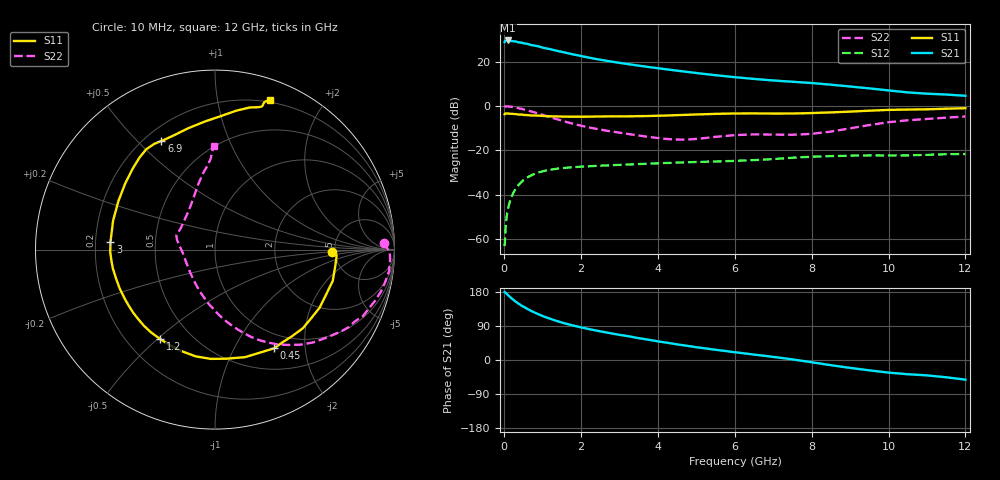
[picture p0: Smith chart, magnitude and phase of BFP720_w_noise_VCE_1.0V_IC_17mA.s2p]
! Infineon Technologies  Discrete & RF Semiconductors
! BFP720
! VCE =  1.0 V,  IC =  17 mA
! Common Emitter S-Parameters:  Aug 2012
# GHz  S  MA  R  50
!  f  S11  S21  S12  S22
! GHz  MAG  ANG  MAG  ANG  MAG  ANG  MAG  ANG
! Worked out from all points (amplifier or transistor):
!   105 points, 10 MHz to 12 GHz, reference 50 ohm
!   highest |S21| = 29.5 dB at 100 MHz (marker M1)
!   |S21| within 3 dB of that: start of sweep to 957 MHz
!   unconditionally stable (mu >= 1): start of sweep to 16.66 MHz; 4.286 GHz to 11.5 GHz
!   at 300 MHz: K = 0.12, MSG = 33.1 dB, |S12| = -37.2 dB
!   at 3.6 GHz: K = 0.89, MSG = 22.0 dB, |S12| = -26.1 dB
!   at 12 GHz: K = 0.89, MSG = 13.1 dB, |S12| = -21.7 dB
!   lowest NFmin = 0.67 dB at 450 MHz
!   S11 on the Smith chart (normalised r, x): 10 MHz: 4.76, -0.21; 450 MHz: 0.78, -1.46; 1.2 GHz: 0.34, -0.51; 3 GHz: 0.26, +0.03; 6.9 GHz: 0.27, +0.59; 12 GHz: 0.18, +1.41
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0.01  0.6536 -1.1  27.33 179.5  0.0007 22.6  0.9398 2.3
0.02  0.6786 -2.8  29.28 178.7  0.001 83.0  0.9735 -0.8
0.1  0.6788 -14.9  29.75 171.0  0.0049 82.3  0.9769 -7.1
0.2  0.6666 -29.1  28.91 161.8  0.0095 77.8  0.9534 -14.3
0.3  0.6571 -41.8  28.19 153.8  0.0138 72.0  0.9181 -20.9
0.35  0.6458 -48.3  27.24 150.2  0.0158 70.1  0.9039 -24.2
0.45  0.6412 -59.0  26.61 143.4  0.0195 65.2  0.8633 -29.9
0.6  0.6222 -74.4  24.92 135.0  0.0246 58.6  0.7922 -38.2
0.8  0.6093 -92.3  22.74 124.8  0.0298 51.6  0.7127 -48.0
1  0.5957 -108.5  20.55 116.0  0.0338 45.3  0.6316 -56.7
1.2  0.5845 -121.3  18.91 108.8  0.0367 40.4  0.5589 -64.2
1.4  0.5805 -133.0  17.18 101.9  0.0389 36.3  0.4954 -70.6
1.6  0.5756 -142.5  15.77 96.0  0.0406 32.9  0.4404 -76.6
2.1  0.5733 -161.0  12.76 84.0  0.0434 27.4  0.3436 -89.5
3  0.5839 175.8  9.317 66.3  0.0473 21.8  0.2506 -109.1
4.1  0.6049 151.2  6.881 47.7  0.0517 17.3  0.1853 -139.7
5  0.6434 135.4  5.507 33.6  0.0548 14.0  0.1816 -175.3
6.1  0.6777 123.5  4.36 19.3  0.0585 11.4  0.2224 163.6
6.9  0.6748 116.3  3.805 9.4  0.0631 10.3  0.227 155.8
8.5  0.7156 94.6  3.007 -13.7  0.0742 0.5  0.265 122.9
10.5  0.8301 72.9  2.016 -37.5  0.0772 -11.0  0.4762 94.6
12  0.8894 70.0  1.694 -51.8  0.0826 -19.1  0.5795 90.3
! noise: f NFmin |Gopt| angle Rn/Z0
0.45  0.67  0.19  1  0.39
1.8  0.74  0.2  11  0.14
2.4  0.79  0.19  17  0.43
5.5  1.01  0.11  -46  0.18
10  1.18  0.45  -73  0.29
